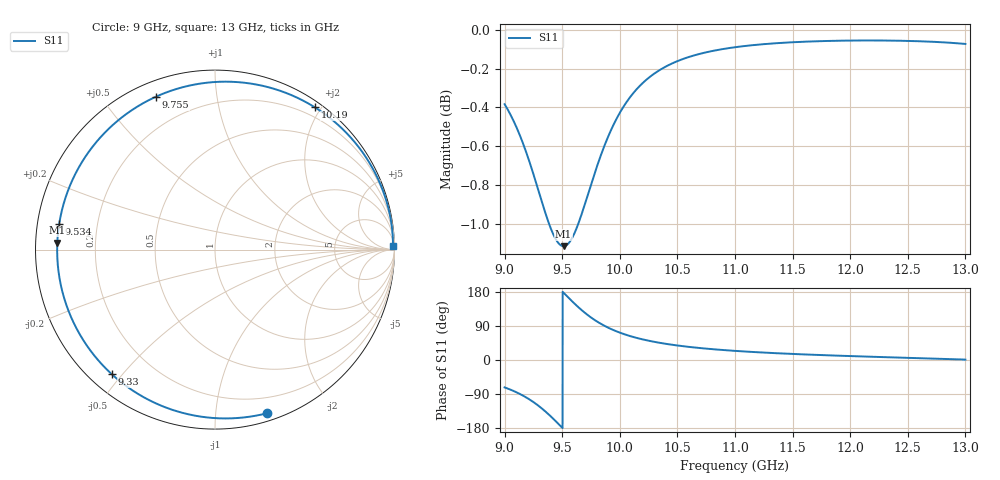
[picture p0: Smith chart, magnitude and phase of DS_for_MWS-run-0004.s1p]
! TOUCHSTONE file generated by CST DESIGN STUDIO
! Date and time: Wed Feb  5 13:38:14 2025
! Project name: C:\Work\MatlabApps\UnitCellOptimizationMatlab\CST\unitcell.cst
! Tree item: Tasks\Sweep1\SPara1\S-Parameters
! Header version: 2024
! Port assignment regex: !\s*Touchstone port\s*([0-9]+)\s*=\s*(CST MWS port|CST DES external port|CST DES block port)\s*(.+)\s* \(\"(.*)\"\)(\s*mode\s*([0-9]+))?.*
! Touchstone port assignment:
! Touchstone port 1 = CST DES external port 1 ("")
# GHz S MA R 50
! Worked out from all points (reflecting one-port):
!   4001 points, 9 GHz to 13 GHz, reference 50 ohm
!   lowest |S11| = -1.1 dB at 9.512 GHz (marker M1), VSWR 15.58, Z = 3.21 + j1.08 ohm
!   phase of S11 starts at -72 deg and turns -287 deg over the sweep
!   S11 on the Smith chart (normalised r, x): 9 GHz: 0.06, -1.37; 9.33 GHz: 0.06, -0.47; 9.534 GHz: 0.06, +0.08; 9.755 GHz: 0.07, +0.68; 10.19 GHz: 0.08, +1.92; 13 GHz: 38, +87
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9  0.9568 -72.3
9.088  0.9459 -83.1
9.191  0.9292 -99.4
9.263  0.9152 -113.8
9.33  0.9016 -129.5
9.375  0.893 -141.5
9.423  0.8855 -155.2
9.462  0.8814 -167.0
9.5  0.8795 -178.8
9.512  0.8794 177.5
9.534  0.8798 170.7
9.588  0.8839 154.3
9.649  0.8928 136.9
9.701  0.9024 123.5
9.755  0.9131 111.1
9.805  0.9227 101.1
9.861  0.9325 91.2
10  0.9519 72.2
10.091  0.9609 63.0
10.191  0.9683 54.9
10.333  0.9758 46.0
10.5  0.9815 38.3
10.722  0.9862 30.8
11  0.9897 24.1
11.5  0.9926 16.0
12  0.9936 10.3
12.5  0.9934 5.7
13  0.9916 1.1
